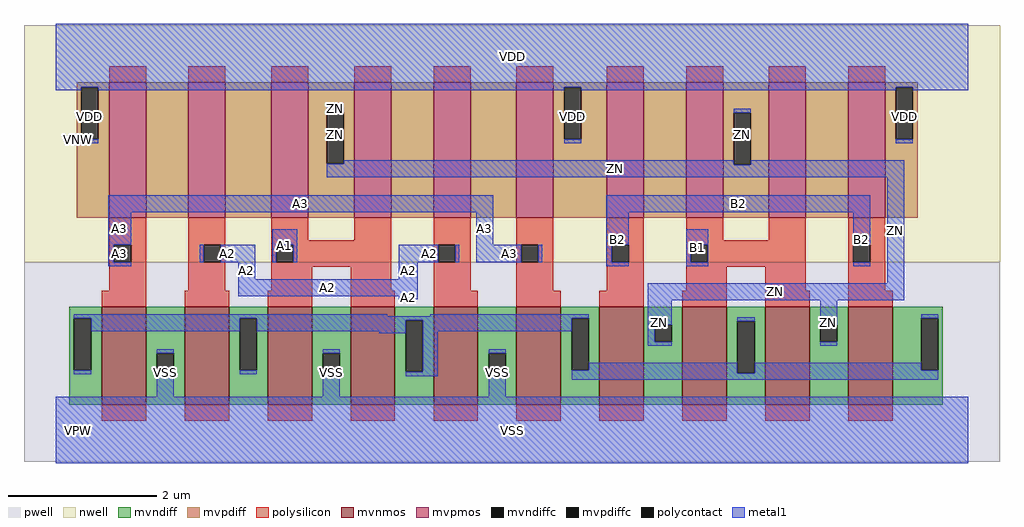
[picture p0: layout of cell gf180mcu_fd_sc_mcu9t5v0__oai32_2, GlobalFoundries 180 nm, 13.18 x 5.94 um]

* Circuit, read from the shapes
.subckt gf180mcu_fd_sc_mcu9t5v0__oai32_2 A1 A2 A3 B1 B2 ZN VDD VNW VPW VSS
XM1 VSS A3 n1 VPW nfet_06v0 w=1.32u l=0.6u m=2
XM2 n1 A2 VSS VPW nfet_06v0 w=1.32u l=0.6u m=2
XM3 VSS A1 n1 VPW nfet_06v0 w=1.32u l=0.6u m=2
XM4 ZN B2 n1 VPW nfet_06v0 w=1.32u l=0.6u m=2
XM5 n1 B1 ZN VPW nfet_06v0 w=1.32u l=0.6u m=2
XM6 n2 A3 VDD VNW pfet_06v0 w=1.83u l=0.5u
XM7 n3 A2 n2 VNW pfet_06v0 w=1.83u l=0.5u
XM8 ZN A1 n3 VNW pfet_06v0 w=1.83u l=0.5u
XM9 n4 A1 ZN VNW pfet_06v0 w=1.83u l=0.5u
XM10 n5 A2 n4 VNW pfet_06v0 w=1.83u l=0.5u
XM11 VDD A3 n5 VNW pfet_06v0 w=1.83u l=0.5u
XM12 n6 B2 VDD VNW pfet_06v0 w=1.83u l=0.5u
XM13 ZN B1 n6 VNW pfet_06v0 w=1.83u l=0.5u
XM14 n7 B1 ZN VNW pfet_06v0 w=1.83u l=0.5u
XM15 VDD B2 n7 VNW pfet_06v0 w=1.83u l=0.5u
.ends

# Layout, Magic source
magic
tech gf180mcuD
magscale 1 10
<< nwell >>
rect -86 453 2550 1094
<< pwell >>
rect -86 -86 2550 453
<< mvnmos >>
rect 124 69 244 333
rect 348 69 468 333
rect 572 69 692 333
rect 796 69 916 333
rect 1020 69 1140 333
rect 1244 69 1364 333
rect 1468 69 1588 333
rect 1692 69 1812 333
rect 1916 69 2036 333
rect 2140 69 2260 333
<< mvpmos >>
rect 144 573 244 939
rect 358 573 458 939
rect 582 573 682 939
rect 806 573 906 939
rect 1020 573 1120 939
rect 1244 573 1344 939
rect 1488 573 1588 939
rect 1702 573 1802 939
rect 1926 573 2026 939
rect 2140 573 2240 939
<< mvndiff >>
rect 36 302 124 333
rect 36 162 49 302
rect 95 162 124 302
rect 36 69 124 162
rect 244 208 348 333
rect 244 162 273 208
rect 319 162 348 208
rect 244 69 348 162
rect 468 302 572 333
rect 468 162 497 302
rect 543 162 572 302
rect 468 69 572 162
rect 692 208 796 333
rect 692 162 721 208
rect 767 162 796 208
rect 692 69 796 162
rect 916 297 1020 333
rect 916 157 945 297
rect 991 157 1020 297
rect 916 69 1020 157
rect 1140 208 1244 333
rect 1140 162 1169 208
rect 1215 162 1244 208
rect 1140 69 1244 162
rect 1364 302 1468 333
rect 1364 162 1393 302
rect 1439 162 1468 302
rect 1364 69 1468 162
rect 1588 285 1692 333
rect 1588 239 1617 285
rect 1663 239 1692 285
rect 1588 69 1692 239
rect 1812 294 1916 333
rect 1812 154 1841 294
rect 1887 154 1916 294
rect 1812 69 1916 154
rect 2036 285 2140 333
rect 2036 239 2065 285
rect 2111 239 2140 285
rect 2036 69 2140 239
rect 2260 302 2396 333
rect 2260 162 2337 302
rect 2383 162 2396 302
rect 2260 69 2396 162
<< mvpdiff >>
rect 56 926 144 939
rect 56 786 69 926
rect 115 786 144 926
rect 56 573 144 786
rect 244 573 358 939
rect 458 573 582 939
rect 682 860 806 939
rect 682 720 731 860
rect 777 720 806 860
rect 682 573 806 720
rect 906 573 1020 939
rect 1120 573 1244 939
rect 1344 926 1488 939
rect 1344 786 1373 926
rect 1419 786 1488 926
rect 1344 573 1488 786
rect 1588 573 1702 939
rect 1802 857 1926 939
rect 1802 717 1831 857
rect 1877 717 1926 857
rect 1802 573 1926 717
rect 2026 573 2140 939
rect 2240 926 2328 939
rect 2240 786 2269 926
rect 2315 786 2328 926
rect 2240 573 2328 786
<< mvndiffc >>
rect 49 162 95 302
rect 273 162 319 208
rect 497 162 543 302
rect 721 162 767 208
rect 945 157 991 297
rect 1169 162 1215 208
rect 1393 162 1439 302
rect 1617 239 1663 285
rect 1841 154 1887 294
rect 2065 239 2111 285
rect 2337 162 2383 302
<< mvpdiffc >>
rect 69 786 115 926
rect 731 720 777 860
rect 1373 786 1419 926
rect 1831 717 1877 857
rect 2269 786 2315 926
<< polysilicon >>
rect 144 939 244 983
rect 358 939 458 983
rect 582 939 682 983
rect 806 939 906 983
rect 1020 939 1120 983
rect 1244 939 1344 983
rect 1488 939 1588 983
rect 1702 939 1802 983
rect 1926 939 2026 983
rect 2140 939 2240 983
rect 144 500 244 573
rect 144 454 157 500
rect 203 454 244 500
rect 144 377 244 454
rect 358 500 458 573
rect 358 454 399 500
rect 445 454 458 500
rect 358 377 458 454
rect 582 513 682 573
rect 806 513 906 573
rect 582 500 906 513
rect 582 454 595 500
rect 641 454 906 500
rect 582 441 906 454
rect 582 377 692 441
rect 124 333 244 377
rect 348 333 468 377
rect 572 333 692 377
rect 796 377 906 441
rect 1020 500 1120 573
rect 1020 454 1033 500
rect 1079 454 1120 500
rect 1020 377 1120 454
rect 1244 500 1344 573
rect 1244 454 1257 500
rect 1303 454 1344 500
rect 1244 377 1344 454
rect 1488 500 1588 573
rect 1488 454 1501 500
rect 1547 454 1588 500
rect 1488 377 1588 454
rect 1702 513 1802 573
rect 1926 513 2026 573
rect 1702 500 2026 513
rect 1702 454 1715 500
rect 1761 454 2026 500
rect 1702 441 2026 454
rect 1702 377 1812 441
rect 796 333 916 377
rect 1020 333 1140 377
rect 1244 333 1364 377
rect 1468 333 1588 377
rect 1692 333 1812 377
rect 1916 377 2026 441
rect 2140 500 2240 573
rect 2140 454 2153 500
rect 2199 454 2240 500
rect 2140 377 2240 454
rect 1916 333 2036 377
rect 2140 333 2260 377
rect 124 25 244 69
rect 348 25 468 69
rect 572 25 692 69
rect 796 25 916 69
rect 1020 25 1140 69
rect 1244 25 1364 69
rect 1468 25 1588 69
rect 1692 25 1812 69
rect 1916 25 2036 69
rect 2140 25 2260 69
<< polycontact >>
rect 157 454 203 500
rect 399 454 445 500
rect 595 454 641 500
rect 1033 454 1079 500
rect 1257 454 1303 500
rect 1501 454 1547 500
rect 1715 454 1761 500
rect 2153 454 2199 500
<< metal1 >>
rect 0 926 2464 1098
rect 0 918 69 926
rect 115 918 1373 926
rect 69 775 115 786
rect 731 860 777 871
rect 1419 918 2269 926
rect 1373 775 1419 786
rect 1831 857 1877 868
rect 777 720 1831 729
rect 731 717 1831 720
rect 2315 918 2464 926
rect 2269 775 2315 786
rect 1877 717 2291 729
rect 731 683 2291 717
rect 142 588 1182 634
rect 142 500 203 588
rect 584 500 652 542
rect 1136 500 1182 588
rect 1486 588 2199 634
rect 1486 500 1547 588
rect 142 454 157 500
rect 388 454 399 500
rect 445 454 538 500
rect 584 454 595 500
rect 641 454 652 500
rect 926 454 1033 500
rect 1079 454 1090 500
rect 1136 454 1257 500
rect 1303 454 1314 500
rect 1486 454 1501 500
rect 142 443 203 454
rect 492 408 538 454
rect 926 408 978 454
rect 1486 443 1547 454
rect 1703 500 1762 542
rect 1703 454 1715 500
rect 1761 454 1762 500
rect 1703 443 1762 454
rect 2153 500 2199 588
rect 2153 443 2199 454
rect 492 362 978 408
rect 2245 397 2291 683
rect 926 354 978 362
rect 1598 351 2291 397
rect 49 308 895 313
rect 1011 308 1439 313
rect 49 302 1439 308
rect 95 267 497 302
rect 49 151 95 162
rect 273 208 319 219
rect 273 90 319 162
rect 543 297 1393 302
rect 543 267 945 297
rect 874 262 945 267
rect 497 151 543 162
rect 721 208 767 219
rect 721 90 767 162
rect 991 267 1393 297
rect 991 157 1032 267
rect 945 146 1032 157
rect 1169 208 1215 219
rect 1169 90 1215 162
rect 1598 285 1663 351
rect 1598 239 1617 285
rect 1598 228 1663 239
rect 1841 294 1887 305
rect 1439 162 1841 182
rect 1393 154 1841 162
rect 2065 285 2111 351
rect 2065 228 2111 239
rect 2337 302 2383 313
rect 1887 162 2337 182
rect 1887 154 2383 162
rect 1393 136 2383 154
rect 0 -90 2464 90
<< labels >>
flabel metal1 s 584 454 652 542 0 FreeSans 200 0 0 0 A1
port 1 nsew default input
flabel metal1 s 926 454 1090 500 0 FreeSans 200 0 0 0 A2
port 2 nsew default input
flabel metal1 s 142 588 1182 634 0 FreeSans 200 0 0 0 A3
port 3 nsew default input
flabel metal1 s 1703 443 1762 542 0 FreeSans 200 0 0 0 B1
port 4 nsew default input
flabel metal1 s 1486 588 2199 634 0 FreeSans 200 0 0 0 B2
port 5 nsew default input
flabel metal1 s 0 918 2464 1098 0 FreeSans 200 0 0 0 VDD
port 7 nsew power bidirectional abutment
flabel metal1 s 1169 90 1215 219 0 FreeSans 200 0 0 0 VSS
port 10 nsew ground bidirectional abutment
flabel metal1 s 731 868 777 871 0 FreeSans 200 0 0 0 ZN
port 6 nsew default output
flabel nwell s 10 734 110 834 0 FreeSans 400 0 0 0 VNW
port 8 nsew power bidirectional
flabel pwell s 10 -50 110 50 0 FreeSans 400 0 0 0 VPW
port 9 nsew ground bidirectional
rlabel metal1 s 388 454 538 500 1 A2
port 2 nsew default input
rlabel metal1 s 926 408 978 454 1 A2
port 2 nsew default input
rlabel metal1 s 492 408 538 454 1 A2
port 2 nsew default input
rlabel metal1 s 492 362 978 408 1 A2
port 2 nsew default input
rlabel metal1 s 926 354 978 362 1 A2
port 2 nsew default input
rlabel metal1 s 1136 500 1182 588 1 A3
port 3 nsew default input
rlabel metal1 s 142 500 203 588 1 A3
port 3 nsew default input
rlabel metal1 s 1136 454 1314 500 1 A3
port 3 nsew default input
rlabel metal1 s 142 454 203 500 1 A3
port 3 nsew default input
rlabel metal1 s 142 443 203 454 1 A3
port 3 nsew default input
rlabel metal1 s 2153 443 2199 588 1 B2
port 5 nsew default input
rlabel metal1 s 1486 443 1547 588 1 B2
port 5 nsew default input
rlabel metal1 s 1831 729 1877 868 1 ZN
port 6 nsew default output
rlabel metal1 s 731 729 777 868 1 ZN
port 6 nsew default output
rlabel metal1 s 731 683 2291 729 1 ZN
port 6 nsew default output
rlabel metal1 s 2245 397 2291 683 1 ZN
port 6 nsew default output
rlabel metal1 s 1598 351 2291 397 1 ZN
port 6 nsew default output
rlabel metal1 s 2065 228 2111 351 1 ZN
port 6 nsew default output
rlabel metal1 s 1598 228 1663 351 1 ZN
port 6 nsew default output
rlabel metal1 s 2269 775 2315 918 1 VDD
port 7 nsew power bidirectional abutment
rlabel metal1 s 1373 775 1419 918 1 VDD
port 7 nsew power bidirectional abutment
rlabel metal1 s 69 775 115 918 1 VDD
port 7 nsew power bidirectional abutment
rlabel metal1 s 721 90 767 219 1 VSS
port 10 nsew ground bidirectional abutment
rlabel metal1 s 273 90 319 219 1 VSS
port 10 nsew ground bidirectional abutment
rlabel metal1 s 0 -90 2464 90 1 VSS
port 10 nsew ground bidirectional abutment
<< properties >>
string FIXED_BBOX 0 0 2464 1008
string GDS_END 172190
string GDS_FILE $PDKPATH/libs.ref/gf180mcu_fd_sc_mcu9t5v0/gds/gf180mcu_fd_sc_mcu9t5v0.gds
string GDS_START 166336
string LEFclass core
string LEFsite GF018hv5v_green_sc9
string LEFsymmetry X Y
<< end >>
